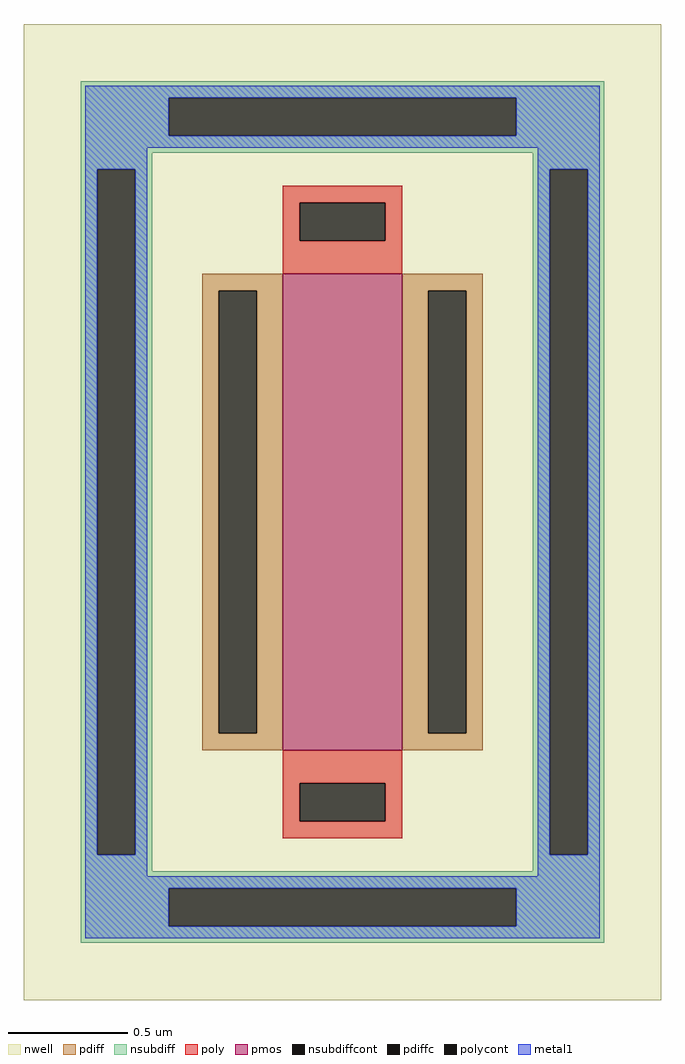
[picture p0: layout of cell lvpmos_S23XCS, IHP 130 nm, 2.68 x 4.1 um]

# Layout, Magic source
magic
tech ihp-sg13g2
<< nwell >>
rect -134 -205 134 205
<< pmos >>
rect -25 -100 25 100
<< pdiff >>
rect -59 93 -25 100
rect -59 -93 -52 93
rect -36 -93 -25 93
rect -59 -100 -25 -93
rect 25 93 59 100
rect 25 -93 36 93
rect 52 -93 59 93
rect 25 -100 59 -93
<< pdiffc >>
rect -52 -93 -36 93
rect 36 -93 52 93
<< nsubdiff >>
rect -110 174 110 181
rect -110 158 -73 174
rect 73 158 110 174
rect -110 151 110 158
rect -110 144 -80 151
rect -110 -144 -103 144
rect -87 -144 -80 144
rect 80 144 110 151
rect -110 -151 -80 -144
rect 80 -144 87 144
rect 103 -144 110 144
rect 80 -151 110 -144
rect -110 -158 110 -151
rect -110 -174 -73 -158
rect 73 -174 110 -158
rect -110 -181 110 -174
<< nsubdiffcont >>
rect -73 158 73 174
rect -103 -144 -87 144
rect 87 -144 103 144
rect -73 -174 73 -158
<< poly >>
rect -25 130 25 137
rect -25 114 -18 130
rect 18 114 25 130
rect -25 100 25 114
rect -25 -114 25 -100
rect -25 -130 -18 -114
rect 18 -130 25 -114
rect -25 -137 25 -130
<< polycont >>
rect -18 114 18 130
rect -18 -130 18 -114
<< metal1 >>
rect -108 174 108 179
rect -108 158 -73 174
rect 73 158 108 174
rect -108 153 108 158
rect -108 144 -82 153
rect -108 -144 -103 144
rect -87 -144 -82 144
rect 82 144 108 153
rect -108 -153 -82 -144
rect 82 -144 87 144
rect 103 -144 108 144
rect 82 -153 108 -144
rect -108 -158 108 -153
rect -108 -174 -73 -158
rect 73 -174 108 -158
rect -108 -179 108 -174
<< properties >>
string gencell lvpmos
string library sg13g2_devstdin
string parameters w 2 l 0.5 nf 1 nx 1 dx 0.21 ny 1 dy 0.18 wmin 0.50 lmin 0.50 class mosfet gcontcov_t 100 gcontcov_b 100 dcontcov_l 100 dcontcov_r 100 guard_distf 1 glc 1 grc 1 gtc 1 gbc 1
<< end >>
